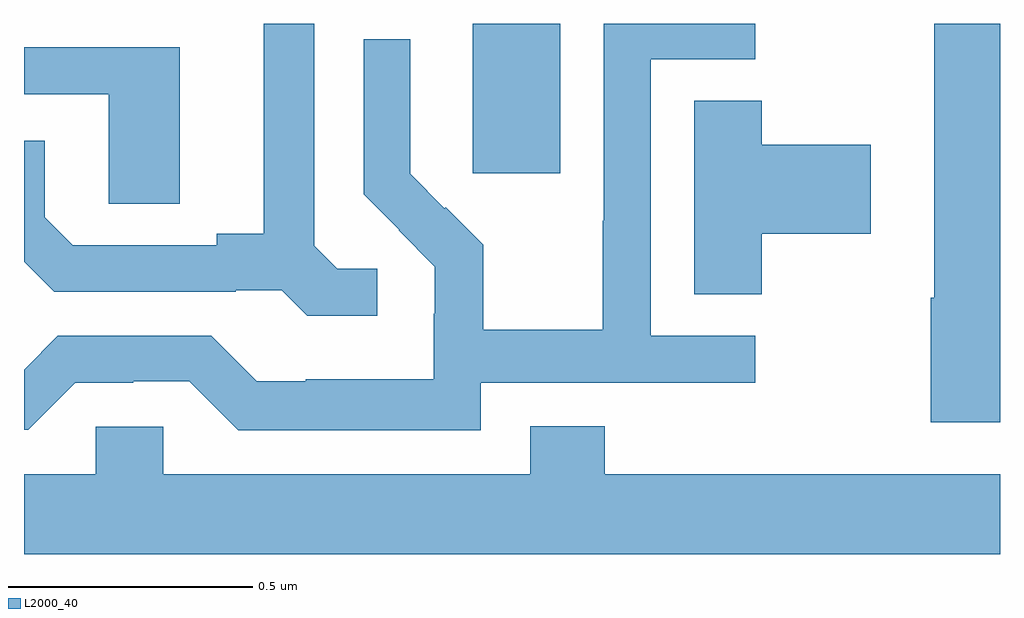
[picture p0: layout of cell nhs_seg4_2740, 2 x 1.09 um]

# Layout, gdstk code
import gdstk
lib = gdstk.Library(unit=1e-6, precision=1e-09)
def R(c, l, rs):  # rectangles x0, y0, x1, y1
    for r in rs: c.add(gdstk.rectangle(r[:2], r[2:], *l))
def P(c, l, *ps):  # polygons
    for p in ps: c.add(gdstk.Polygon(p, *l))
L2000_40 = (2000, 40)

nhs_seg4_2740 = lib.new_cell('nhs_seg4_2740')
R(nhs_seg4_2740, L2000_40, [(144.92,805.593,145.099,805.9)])
P(nhs_seg4_2740, L2000_40, [(144.936,805.164),(145.498,805.164),(145.498,805.26),(145.284,805.26),(145.284,805.827),(145.498,805.827),(145.498,805.9),(145.188,805.9),(145.188,805.496),(145.186,805.496),(145.186,805.273),(144.941,805.273),(144.941,805.447),(144.864,805.524),(144.861,805.521),(144.791,805.592),(144.791,805.714),(144.792,805.714),(144.792,805.868),(144.696,805.868),(144.696,805.55),(144.769,805.477),(144.768,805.476),(144.842,805.402),(144.842,805.305),(144.84,805.305),(144.84,805.171),(144.577,805.171),(144.577,805.167),(144.477,805.167),(144.384,805.26),(144.069,805.26),(144,805.191),(144,805.068),(144.009,805.068),(144.105,805.164),(144.224,805.164),(144.224,805.167),(144.339,805.167),(144.439,805.067),(144.936,805.067)],
  [(144.724,805.398),(144.642,805.398),(144.595,805.445),(144.595,805.9),(144.491,805.9),(144.491,805.469),(144.395,805.469),(144.395,805.446),(144.1,805.446),(144.043,805.503),(144.043,805.66),(144,805.66),(144,805.412),(144.062,805.35),(144.434,805.35),(144.434,805.353),(144.528,805.353),(144.58,805.301),(144.724,805.301)],
  [(146,805.9),(145.865,805.9),(145.865,805.338),(145.858,805.338),(145.858,805.083),(146,805.083)],
  [(144.319,805.851),(144,805.851),(144,805.755),(144.174,805.755),(144.174,805.531),(144.319,805.531)],
  [(145.512,805.469),(145.735,805.469),(145.735,805.652),(145.512,805.652),(145.512,805.742),(145.373,805.742),(145.373,805.345),(145.512,805.345)],
  [(146,804.976),(145.19,804.976),(145.19,805.075),(145.037,805.075),(145.037,804.976),(144.285,804.976),(144.285,805.074),(144.147,805.074),(144.147,804.976),(144,804.976),(144,804.812),(146,804.812)])

lib.write_gds('nhs_seg4_2740.gds')
